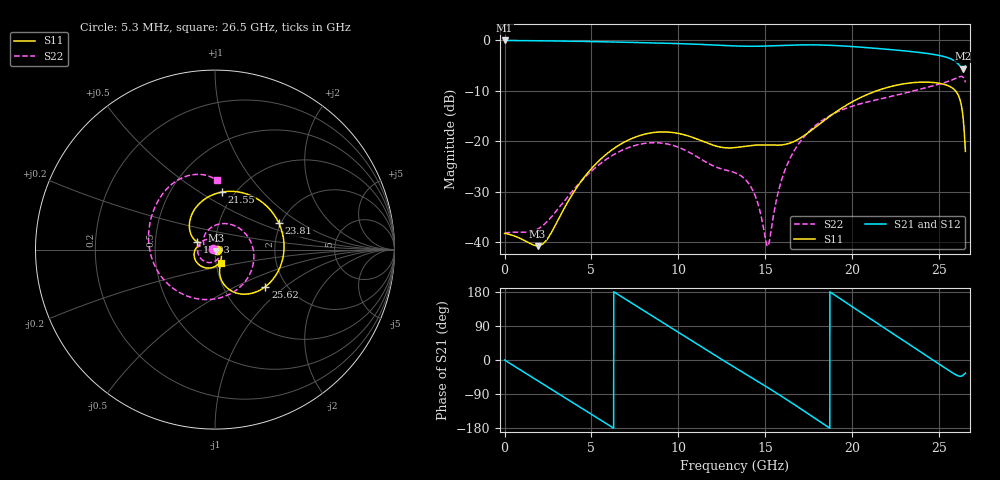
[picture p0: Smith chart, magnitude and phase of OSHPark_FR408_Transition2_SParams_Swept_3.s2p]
! TOUCHSTONE file generated by CST MICROWAVE STUDIO
! Date and time: Tue Jan  7 09:43:06 2020
! Project name: OSHPark_FR408_Transition2.cst
! Parameters = {GND_Plane_XMax=12; Cap_Disk_XOffset=0; Cap_Disk2_YCenter=-1.03; Cap_Disk_YCenter=1.03; Cap_Disk_XCenter=7.39; Cap_Disk_Radius=0.5; BottomSupport_Left_YMax=4.76; BottomSupport_Left_YMin=3.74; BottomSupport_Right_YMax=-3.74; BottomSupport_Right_YMin=-4.76; BottomSupport_XMax=11.64; Bot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
! Header version: 2015
! Port assignment regex: !\s*Touchstone port\s*([0-9]+)\s*=\s*CST MWS port\s*([0-9]+)\s*\(\"(.*)\"\)(\s*mode\s*([0-9]+))?.*
! Touchstone port assignment:
! Touchstone port 1 = CST MWS port 1 ("")
! Touchstone port 2 = CST MWS port 2 ("")
# GHz S MA R 50
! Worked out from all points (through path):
!   5000 points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, 5.3 MHz to 26.5 GHz, reference 50 ohm
!   highest |S21| = 0.00 dB at 5.3 MHz (marker M1); lowest = -5.6 dB at 26.38 GHz (marker M2)
!   group delay of S21, straight-line fit = 81 ps
!   lowest |S11| = -40.7 dB at 1.897 GHz (marker M3), VSWR 1.02, Z = 50.7 - j0.57 ohm
!   |S11| at or under -10 dB: start of sweep to 21.39 GHz; 25.93 GHz to end of sweep
!   |S22| runs from -40.8 to -7.1 dB; largest |S21 - S12| = 0
!   S11 on the Smith chart (normalised r, x): 5.3 MHz: 1.02, -0.01; 17.03 GHz: 0.82, +0.07; 21.55 GHz: 0.87, +0.63; 23.81 GHz: 1.96, +0.67; 25.62 GHz: 1.57, -0.74; 26.5 GHz: 1.07, -0.15
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0.0053  0.01221 -24.0  0.9999 -0.2  0.9999 -0.2  0.01237 154.4
1.8974  0.009204 -37.6  0.9931 -54.4  0.9931 -54.4  0.01348 66.0
3.1588  0.01765 -16.7  0.9869 -90.5  0.9869 -90.5  0.02232 -0.3
4.4255  0.04059 -35.1  0.9793 -126.8  0.9793 -126.8  0.04056 -48.0
6.5455  0.09087 -86.3  0.9633 172.3  0.9633 172.3  0.07825 -112.2
8.8404  0.1236 -142.2  0.9427 106.4  0.9427 106.4  0.09667 -177.7
10.0329  0.1195 -167.4  0.9304 72.0  0.9304 72.0  0.08688 150.4
11.3314  0.1012 172.8  0.9131 34.6  0.9131 34.6  0.06601 122.7
13.2553  0.08667 165.6  0.8818 -20.1  0.8818 -20.1  0.04881 90.1
14.3153  0.09147 160.2  0.8754 -49.6  0.8754 -49.6  0.03161 48.2
15.1368  0.09189 155.3  0.8817 -72.8  0.8817 -72.8  0.009141 -62.6
15.9689  0.0923 154.3  0.8932 -96.9  0.8932 -96.9  0.04343 -177.9
17.0342  0.1084 156.2  0.9037 -128.8  0.9037 -128.8  0.101 123.5
17.6702  0.1295 154.0  0.9044 -148.2  0.9044 -148.2  0.1334 91.5
19.3768  0.2129 131.2  0.8837 159.3  0.8837 159.3  0.2041 11.8
21.5498  0.3234 82.8  0.8297 93.3  0.8297 93.3  0.2618 -72.4
22.0851  0.3449 69.2  0.815 77.2  0.815 77.2  0.2749 -90.2
23.8076  0.3853 22.3  0.762 25.1  0.762 25.1  0.3256 -144.7
25.6202  0.3485 -36.3  0.6614 -29.9  0.6614 -29.9  0.3993 152.1
26.129  0.2766 -62.2  0.5745 -42.5  0.5745 -42.5  0.4348 125.4
26.3781  0.1652 -78.6  0.5241 -39.7  0.5241 -39.7  0.4301 102.9
26.5  0.07955 -62.4  0.5611 -34.5  0.5611 -34.5  0.3836 87.8
